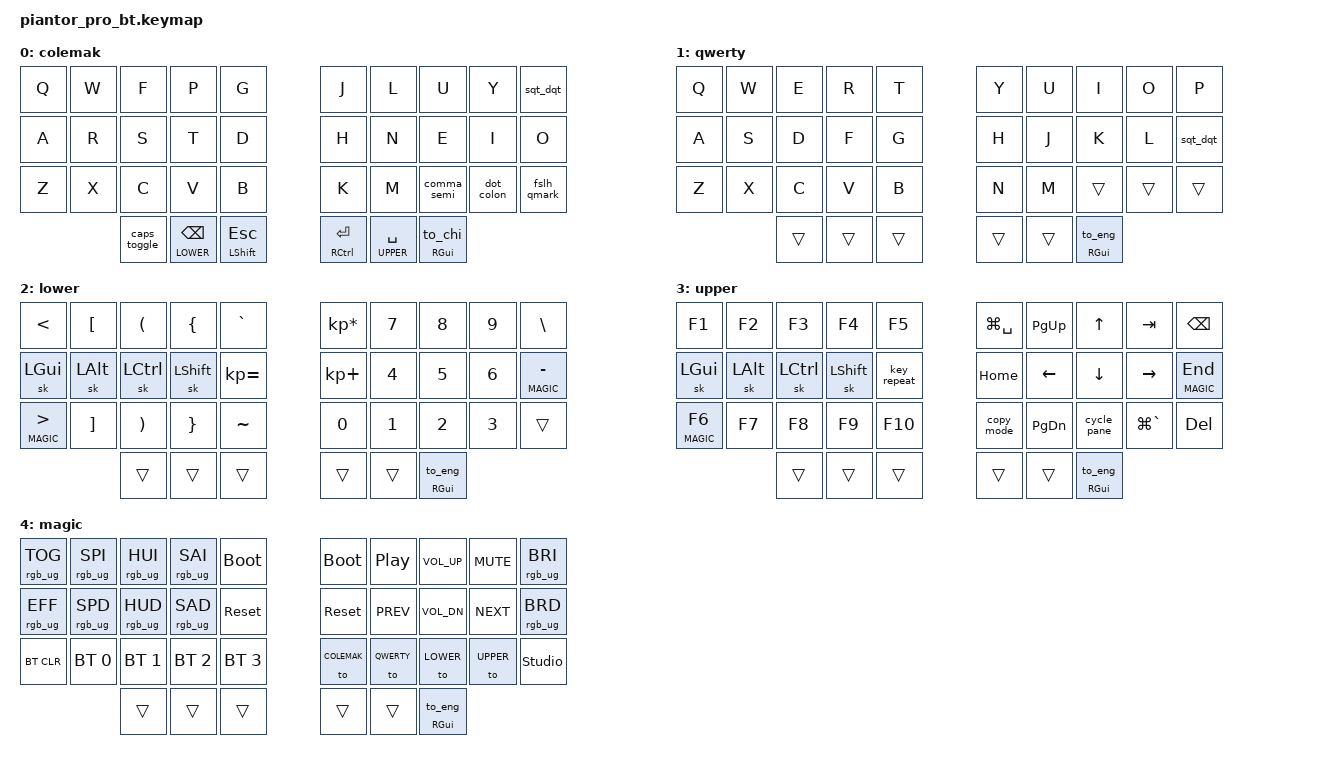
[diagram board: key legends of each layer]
/*
 * Copyright (c) 2020 The ZMK Contributors
 *
 * SPDX-License-Identifier: MIT
 */

#include <behaviors.dtsi>
#include <dt-bindings/zmk/keys.h>
#include <dt-bindings/zmk/bt.h>
#include <dt-bindings/zmk/rgb.h>

// layers
#define COLEMAK 0
#define QWERTY  1
#define LOWER   2
#define UPPER   3
#define MAGIC   4

/ {
    chosen {
        zmk,physical-layout = &five_col_layout;
    };
};

/ {
    macros {
        to_chi: to_chi_macro {
            compatible = "zmk,behavior-macro";
            #binding-cells = <0>;
            bindings = <&kp LC(SPACE)>, <&to QWERTY>;
        };

        to_eng: to_eng_macro {
            compatible = "zmk,behavior-macro";
            #binding-cells = <0>;
            bindings = <&kp LC(SPACE)>, <&to COLEMAK>;
        };

        copy_mode: copy_mode_macro {
            compatible = "zmk,behavior-macro";
            #binding-cells = <0>;
            bindings = <&kp GRAVE>, <&kp LBKT>;
        };

        cycle_pane: cycle_pane_macro {
            compatible = "zmk,behavior-macro";
            #binding-cells = <0>;
            bindings = <&kp GRAVE>, <&kp TAB>;
        };
    };

    behaviors {
        caps_toggle: tap_dance_caps_toggle {
            compatible = "zmk,behavior-tap-dance";
            #binding-cells = <0>;
            bindings = <&caps_word>, <&kp LS(CAPS)>;
        };
        chi_ht: chi_ht {
            compatible = "zmk,behavior-hold-tap";
            #binding-cells = <2>;
            flavor = "hold-preferred";
            tapping-term-ms = <200>;
            bindings = <&kp>, <&to_chi>;
        };
        eng_ht: eng_ht {
            compatible = "zmk,behavior-hold-tap";
            #binding-cells = <2>;
            flavor = "hold-preferred";
            tapping-term-ms = <200>;
            bindings = <&kp>, <&to_eng>;
        };
        comma_semi: comma_semi {
            compatible = "zmk,behavior-mod-morph";
            #binding-cells = <0>;
            bindings = <&kp COMMA>, <&kp SEMI>;
            mods = <(MOD_LSFT|MOD_RSFT)>;
        };
        dot_colon: dot_colon {
            compatible = "zmk,behavior-mod-morph";
            #binding-cells = <0>;
            bindings = <&kp DOT>, <&kp COLON>;
            mods = <(MOD_LSFT|MOD_RSFT)>;
        };
        sqt_dqt: sqt_dqt {
            compatible = "zmk,behavior-mod-morph";
            #binding-cells = <0>;
            bindings = <&kp SQT>, <&kp DQT>;
            mods = <(MOD_LSFT|MOD_RSFT)>;
        };
        fslh_qmark: fslh_qmark {
            compatible = "zmk,behavior-mod-morph";
            #binding-cells = <0>;
            bindings = <&kp FSLH>, <&kp QMARK>;
            mods = <(MOD_LSFT|MOD_RSFT)>;
        };
        up_pgup: up_pgup {
            compatible = "zmk,behavior-mod-morph";
            #binding-cells = <0>;
            bindings = <&kp UP>, <&kp PG_UP>;
            mods = <(MOD_LGUI|MOD_RGUI)>;
        };
        down_pgdn: down_pgdn {
            compatible = "zmk,behavior-mod-morph";
            #binding-cells = <0>;
            bindings = <&kp DOWN>, <&kp PG_DN>;
            mods = <(MOD_LGUI|MOD_RGUI)>;
        };
    };
    keymap {
        compatible = "zmk,keymap";

        colemak_layer {
            display-name = "colemak";
            // ---------------------------------------------------------------------
            // |  Q  |  W  |  F  |  P  |  G  ||  J  |  L   |   U   |   Y   | ' _ " |
            // |  A  |  R  |  S  |  T  |  D  ||  H  |  N   |   E   |   I   |   O   |
            // |  Z  |  X  |  C  |  V  |  B  ||  K  |  M   | , _ ; | . _ : | / _ ? |
            bindings = <
                    &kp Q &kp W &kp F &kp P &kp G   &kp J &kp L &kp U       &kp Y      &sqt_dqt
                    &kp A &kp R &kp S &kp T &kp D   &kp H &kp N &kp E       &kp I      &kp O
                    &kp Z &kp X &kp C &kp V &kp B   &kp K &kp M &comma_semi &dot_colon &fslh_qmark
        &caps_toggle &lt LOWER BSPC &mt LSHFT ESC   &mt RCTL RET &lt UPPER SPACE &chi_ht RGUI 0
            >;
        };

        qwerty_layer {
            display-name = "qwerty";
            // ---------------------------------------------------------------------
            // |  Q  |  W  |  E  |  R  |  T  ||  Y  |  U   |   I   |   O   |   P   |
            // |  A  |  S  |  D  |  F  |  G  ||  H  |  J   |   K   |   L   | ' _ " |
            // |  Z  |  X  |  C  |  V  |  B  ||  N  |  M   | , _ ; | . _ : | / _ ? |
            bindings = <
                &kp Q &kp W &kp E &kp R &kp T   &kp Y &kp U  &kp I  &kp O  &kp P
                &kp A &kp S &kp D &kp F &kp G   &kp H &kp J  &kp K  &kp L  &sqt_dqt
                &kp Z &kp X &kp C &kp V &kp B   &kp N &kp M  &trans &trans &trans
                         &trans &trans &trans   &trans &trans &eng_ht RGUI 0
            >;
        };

        lower_layer {
            display-name = "lower";
            // -------------------------------------------------------------------------
            // |  <  |  [  |  (   |  {   |  `  ||  *  | 7 _ & | 8 _ * | 9 _ ( | \ _ |  |
            // | GUI | ALT | CTRL | SHFT |  =  ||  +  | 4 _ $ | 5 _ % | 6 _ ^ | - _ MG |
            // |  >  |  ]  |  )   |  }   |  ~  ||  0  | 1 _ ! | 2 _ @ | 3 _ # | / _ ?  |
            bindings = <
                &kp LT       &kp LBKT &kp LPAR  &kp LBRC  &kp GRAVE      &kp KP_MULTIPLY &kp N7 &kp N8 &kp N9 &kp BSLH
                &sk LGUI     &sk LALT &sk LCTRL &sk LSHFT &kp KP_EQUAL   &kp KP_PLUS     &kp N4 &kp N5 &kp N6 &lt MAGIC MINUS
                &lt MAGIC GT &kp RBKT &kp RPAR  &kp RBRC  &kp TILDE      &kp N0          &kp N1 &kp N2 &kp N3 &trans
                                                  &trans &trans &trans   &trans &trans &eng_ht RGUI 0
            >;
        };

        upper_layer {
            display-name = "upper";
            // ------------------------------------------------------------------------------------
            // |   F1    | F2  |  F3  |  F4  |  F5    || G+SPC | PG_UP |   UP  |  TAB  |   BSPC   |
            // |   GUI   | ALT | CTRL | SHFT | REPEAT || HOME  | LEFT  |  DOWN | RIGHT | END _ MG |
            // | F6 _ MG | F7  |  F8  |  F9  |  F10   ||  `+[  | PG_DN | `+TAB |  G+`  |   DEL    |
            bindings = <
                &kp F1       &kp F2   &kp F3    &kp F4    &kp F5        &kp LG(SPACE) &kp PG_UP &kp UP      &kp TAB       &kp BSPC
                &sk LGUI     &sk LALT &sk LCTRL &sk LSHFT &key_repeat   &kp HOME      &kp LEFT  &kp DOWN    &kp RIGHT     &lt MAGIC END
                &lt MAGIC F6 &kp F7   &kp F8    &kp F9    &kp F10       &copy_mode    &kp PG_DN &cycle_pane &kp LG(GRAVE) &kp DEL
                                               &trans  &trans  &trans   &trans  &trans  &eng_ht RGUI 0
            >;
        };

        magic_layer {
            display-name = "magic";
            bindings = <
                &rgb_ug RGB_TOG &rgb_ug RGB_SPI &rgb_ug RGB_HUI &rgb_ug RGB_SAI &bootloader     &bootloader  &kp C_PP    &kp C_VOL_UP  &kp C_MUTE  &rgb_ug RGB_BRI
                &rgb_ug RGB_EFF &rgb_ug RGB_SPD &rgb_ug RGB_HUD &rgb_ug RGB_SAD &sys_reset      &sys_reset   &kp C_PREV  &kp C_VOL_DN  &kp C_NEXT  &rgb_ug RGB_BRD
                &bt BT_CLR      &bt BT_SEL 0    &bt BT_SEL 1    &bt BT_SEL 2    &bt BT_SEL 3    &to COLEMAK  &to QWERTY  &to LOWER     &to UPPER   &studio_unlock
                                                                      &trans  &trans  &trans    &trans &trans &eng_ht RGUI 0
            >;
        };
    };
};
